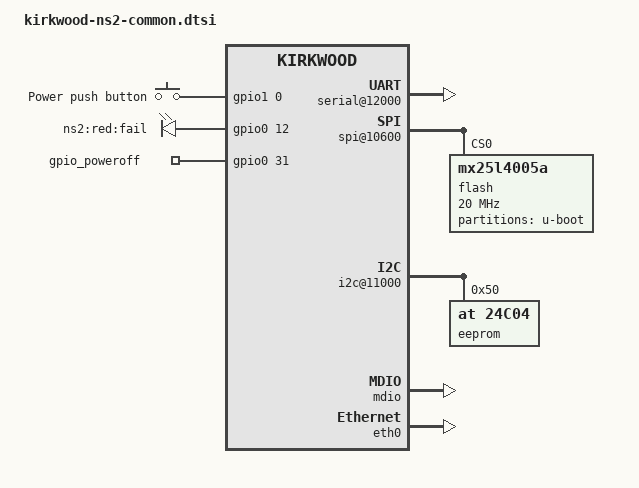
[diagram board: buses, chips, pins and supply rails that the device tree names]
#include "kirkwood.dtsi"
#include "kirkwood-6281.dtsi"

/ {
	chosen {
		bootargs = "console=ttyS0,115200n8";
	};

	ocp@f1000000 {
		pinctrl: pinctrl@10000 {
			pmx_ns2_sata0: pmx-ns2-sata0 {
				marvell,pins = "mpp21";
				marvell,function = "sata0";
			};
			pmx_ns2_sata1: pmx-ns2-sata1 {
				marvell,pins = "mpp20";
				marvell,function = "sata1";
			};
		};

		serial@12000 {
			pinctrl-0 = <&pmx_uart0>;
			pinctrl-names = "default";
			status = "okay";
		};

		spi@10600 {
			pinctrl-0 = <&pmx_spi>;
			pinctrl-names = "default";
			status = "okay";

			flash@0 {
				#address-cells = <1>;
				#size-cells = <1>;
				compatible = "mx25l4005a";
				reg = <0>;
				spi-max-frequency = <20000000>;
				mode = <0>;

				partition@0 {
					reg = <0x0 0x80000>;
					label = "u-boot";
				};
			};
		};

		i2c@11000 {
			pinctrl-0 = <&pmx_twsi0>;
			pinctrl-names = "default";
			status = "okay";

			eeprom@50 {
				compatible = "at,24c04";
				pagesize = <16>;
				reg = <0x50>;
			};
		};
	};

	gpio_keys {
		compatible = "gpio-keys";
		#address-cells = <1>;
		#size-cells = <0>;

		button@1 {
			label = "Power push button";
			linux,code = <KEY_POWER>;
			gpios = <&gpio1 0 GPIO_ACTIVE_HIGH>;
		};
	};

	gpio-leds {
		compatible = "gpio-leds";

		red-fail {
			label = "ns2:red:fail";
			gpios = <&gpio0 12 GPIO_ACTIVE_HIGH>;
		};
	};

	gpio_poweroff {
		compatible = "gpio-poweroff";
		gpios = <&gpio0 31 GPIO_ACTIVE_HIGH>;
	};

};

&mdio {
	status = "okay";

	ethphy0: ethernet-phy {
		device_type = "ethernet-phy";
                /* overwrite reg property in board file */
	};
};

&eth0 {
	status = "okay";
	ethernet0-port@0 {
		phy-handle = <&ethphy0>;
	};
};
